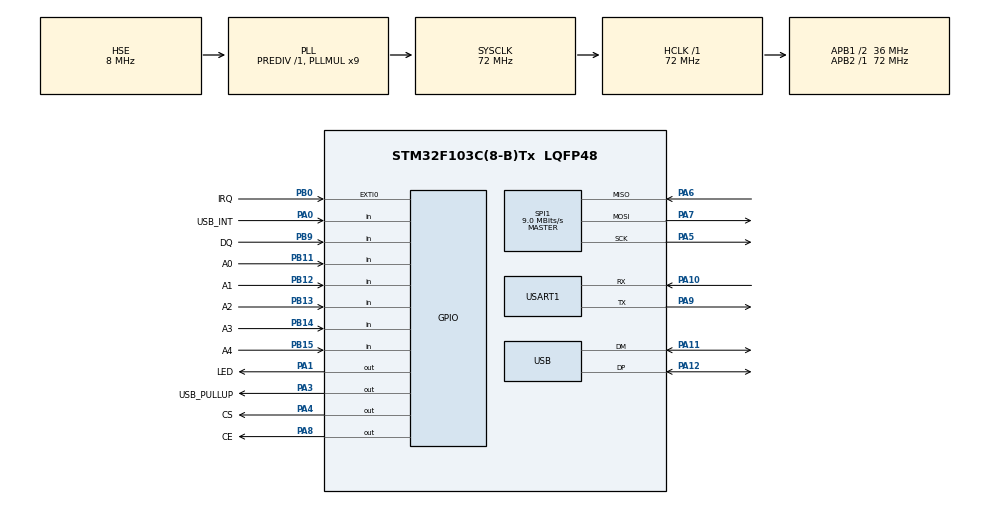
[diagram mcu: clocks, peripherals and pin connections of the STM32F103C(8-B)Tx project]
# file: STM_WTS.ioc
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Mcu.Family=STM32F1
Mcu.Name=STM32F103C(8-B)Tx
Mcu.Package=LQFP48
NVIC.EXTI0_IRQn=true\:0\:0\:false\:false\:true\:true
NVIC.PriorityGroup=NVIC_PRIORITYGROUP_4
NVIC.TIM1_UP_IRQn=true\:0\:0\:false\:false\:true\:true
NVIC.USART1_IRQn=true\:0\:0\:false\:false\:true\:true
NVIC.USB_LP_CAN1_RX0_IRQn=true\:0\:0\:false\:false\:true\:false
PA0-WKUP.GPIO_Label=USB_INT
PA0-WKUP.GPIO_PuPd=GPIO_PULLDOWN
PA0-WKUP.Signal=GPIO_Input
PA1.GPIO_Label=LED
PA1.Signal=GPIO_Output
PA10.Mode=Asynchronous
PA10.Signal=USART1_RX
PA11.Mode=Device
PA11.Signal=USB_DM
PA12.Mode=Device
PA12.Signal=USB_DP
PA13.Mode=Trace_Asynchronous_SW
PA13.Signal=SYS_JTMS-SWDIO
PA14.Mode=Trace_Asynchronous_SW
PA14.Signal=SYS_JTCK-SWCLK
PA3.GPIO_Label=USB_PULLUP
PA3.Signal=GPIO_Output
PA4.GPIO_Label=CS
PA4.Signal=GPIO_Output
PA5.Mode=Full_Duplex_Master
PA5.Signal=SPI1_SCK
PA6.Mode=Full_Duplex_Master
PA6.Signal=SPI1_MISO
PA7.Mode=Full_Duplex_Master
PA7.Signal=SPI1_MOSI
PA8.GPIO_Label=CE
PA8.Signal=GPIO_Output
PA9.Mode=Asynchronous
PA9.Signal=USART1_TX
PB0.GPIO_Label=IRQ
PB0.GPIO_ModeDefaultEXTI=GPIO_MODE_IT_FALLING
PB0.GPIO_PuPd=GPIO_PULLUP
PB0.Signal=GPXTI0
PB11.GPIO_Label=A0
PB11.Signal=GPIO_Input
PB12.GPIO_Label=A1
PB12.Signal=GPIO_Input
PB13.GPIO_Label=A2
PB13.Signal=GPIO_Input
PB14.GPIO_Label=A3
PB14.Signal=GPIO_Input
PB15.GPIO_Label=A4
PB15.Signal=GPIO_Input
PB3.Mode=Trace_Asynchronous_SW
PB3.Signal=SYS_JTDO-TRACESWO
PB9.GPIO_Label=DQ
PB9.Signal=GPIO_Input
PD0-OSC_IN.Mode=HSE-External-Oscillator
PD0-OSC_IN.Signal=RCC_OSC_IN
PD1-OSC_OUT.Mode=HSE-External-Oscillator
PD1-OSC_OUT.Signal=RCC_OSC_OUT
ProjectManager.HeapSize=0x800
ProjectManager.StackSize=0x800
ProjectManager.TargetToolchain=MDK-ARM V5
RCC.AHBFreq_Value=72000000
RCC.APB1CLKDivider=RCC_HCLK_DIV2
RCC.APB1Freq_Value=36000000
RCC.APB1TimFreq_Value=72000000
RCC.APB2Freq_Value=72000000
RCC.APB2TimFreq_Value=72000000
RCC.HCLKFreq_Value=72000000
RCC.LSE_VALUE=32000
RCC.PLLMUL=RCC_PLL_MUL9
RCC.PLLSourceVirtual=RCC_PLLSOURCE_HSE
RCC.RTCClockSelection=RCC_RTCCLKSOURCE_LSE
RCC.SYSCLKFreq_VALUE=72000000
RCC.SYSCLKSource=RCC_SYSCLKSOURCE_PLLCLK
RCC.USBFreq_Value=48000000
RCC.USBPrescaler=RCC_USBCLKSOURCE_PLL_DIV1_5
SPI1.BaudRatePrescaler=SPI_BAUDRATEPRESCALER_8
SPI1.CalculateBaudRate=9.0 MBits/s
SPI1.Direction=SPI_DIRECTION_2LINES
SPI1.Mode=SPI_MODE_MASTER
SPI1.VirtualType=VM_MASTER
TIM1.ClockDivision=TIM_CLOCKDIVISION_DIV1
TIM1.Period=100
TIM1.Prescaler=35999
USART1.VirtualMode=VM_ASYNC
USB_DEVICE.APP_RX_DATA_SIZE=64
USB_DEVICE.APP_TX_DATA_SIZE=64
USB_DEVICE.CLASS_NAME_FS=CDC
USB_DEVICE.USBD_MAX_STR_DESC_SIZ=256
USB_DEVICE.VirtualMode=Cdc
USB_DEVICE.VirtualModeFS=Cdc_FS
VP_CRC_VS_CRC.Mode=CRC_Activate
VP_TIM1_VS_ClockSourceINT.Mode=Internal
VP_USB_DEVICE_VS_USB_DEVICE_CDC_FS.Mode=CDC_FS
board=STM_WTS

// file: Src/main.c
/**
  ******************************************************************************
  * @file           : main.c
  * @brief          : Main program body
  ******************************************************************************
  * This notice applies to any and all portions of this file
  * that are not between comment pairs USER CODE BEGIN and
  * USER CODE END. Other portions of this file, whether
  * inserted by the user or by software development tools
  * are owned by their respective copyright owners.
  *
  * Copyright (c) 2019 STMicroelectronics International N.V.
  * All rights reserved.
  *
  * Redistribution and use in source and binary forms, with or without
  * modification, are permitted, provided that the following conditions are met:
  *
  * 1. Redistribution of source code must retain the above copyright notice,
  *    this list of conditions and the following disclaimer.
  * 2. Redistributions in binary form must reproduce the above copyright notice,
  *    this list of conditions and the following disclaimer in the documentation
  *    and/or other materials provided with the distribution.
  * 3. Neither the name of STMicroelectronics nor the names of other
  *    contributors to this software may be used to endorse or promote products
  *    derived from this software without specific written permission.
  * 4. This software, including modifications and/or derivative works of this
  *    software, must execute solely and exclusively on microcontroller or
  *    microprocessor devices manufactured by or for STMicroelectronics.
  * 5. Redistribution and use of this software other than as permitted under
  *    this license is void and will automatically terminate your rights under
  *    this license.
  *
  * THIS SOFTWARE IS PROVIDED BY STMICROELECTRONICS AND CONTRIBUTORS "AS IS"
  * AND ANY EXPRESS, IMPLIED OR STATUTORY WARRANTIES, INCLUDING, BUT NOT
  * LIMITED TO, THE IMPLIED WARRANTIES OF MERCHANTABILITY, FITNESS FOR A
  * PARTICULAR PURPOSE AND NON-INFRINGEMENT OF THIRD PARTY INTELLECTUAL PROPERTY
  * RIGHTS ARE DISCLAIMED TO THE FULLEST EXTENT PERMITTED BY LAW. IN NO EVENT
  * SHALL STMICROELECTRONICS OR CONTRIBUTORS BE LIABLE FOR ANY DIRECT, INDIRECT,
  * INCIDENTAL, SPECIAL, EXEMPLARY, OR CONSEQUENTIAL DAMAGES (INCLUDING, BUT NOT
  * LIMITED TO, PROCUREMENT OF SUBSTITUTE GOODS OR SERVICES; LOSS OF USE, DATA,
  * OR PROFITS; OR BUSINESS INTERRUPTION) HOWEVER CAUSED AND ON ANY THEORY OF
  * LIABILITY, WHETHER IN CONTRACT, STRICT LIABILITY, OR TORT (INCLUDING
  * NEGLIGENCE OR OTHERWISE) ARISING IN ANY WAY OUT OF THE USE OF THIS SOFTWARE,
  * EVEN IF ADVISED OF THE POSSIBILITY OF SUCH DAMAGE.
  *
  ******************************************************************************
  */
#include "main.h"
#include "stm32f1xx_hal.h"
#include "crc.h"
#include "spi.h"
#include "tim.h"
#include "usart.h"
#include "usb_device.h"
#include "gpio.h"

/* USER CODE BEGIN Includes */
#include <stdio.h>

#include "usbd_cdc_if.h"
#include "uart_cmd_parser.h"
#include "nrf24.h"
#include "ds18b20.h"
#include "wireless_ctrl.h"

/* USER CODE END Includes */

/* USER CODE BEGIN PV */
/* Private variables ---------------------------------------------------------*/

/* USER CODE END PV */

void SystemClock_Config(void);

/* USER CODE BEGIN PFP */
/* Private function prototypes -----------------------------------------------*/

/* USER CODE END PFP */

int main(void)
{

  /* MCU Configuration----------------------------------------------------------*/

  /* Reset of all peripherals, Initializes the Flash interface and the Systick. */
  HAL_Init();

  /* Configure the system clock */
  SystemClock_Config();

  /* Initialize all configured peripherals */
  MX_GPIO_Init();
  MX_USART1_UART_Init();
  MX_SPI1_Init();
  MX_TIM1_Init();
  MX_CRC_Init();
  MX_USB_DEVICE_Init();
  /* USER CODE BEGIN 2 */
//test

//endtest

HAL_GPIO_WritePin(USB_PULLUP_GPIO_Port, USB_PULLUP_Pin, GPIO_PIN_SET);
HAL_GPIO_WritePin(LED_GPIO_Port,LED_Pin,GPIO_PIN_SET);
HAL_Delay(200);
uartInit();

//putsUSART("1\r\n>");
ds_init_state= ds18b20_Init(RESOLUTION_9BIT);
//putsUSART("2\r\n>");
nrf_init_state = NRF24_Init();
HAL_Delay(200);
//putsUSART("3\r\n>");
HAL_TIM_Base_Start_IT( &htim1);
//putsUSART("4\r\n>");
if(ds_init_state){
	putsUSART("DS init FAIL\r\n>");
}
if(nrf_init_state){
	putsUSART("NRF init FAIL\r\n>");
}
HAL_UART_Receive_IT( &huart1, &receive_val, 1);

  /* USER CODE END 2 */

  /* Infinite loop */
  /* USER CODE BEGIN WHILE */
uint8_t cdc_init=0;

if(nrf_init_state==0){
	nrf_init_state=WL_Check_Addr(0x00);

}

HAL_GPIO_WritePin(LED_GPIO_Port,LED_Pin,GPIO_PIN_RESET);

 while (1){
//Blinking
//DS18B20 init error ..
//NRF24 init error	 -
//NRF24 addr busy		 - -
//NRF24 timeout			 - - -

		if (uart1_rx_flag) {
			parseCommand(uart_rx_buf);
			uart1_rx_flag = 0;

		}
		if (vcp_rx_flag) {
			if(cdc_init){
			CDC_Transmit_FS((uint8_t*)"\r\n>", 3);
			//CDC_Transmit_FS((uint8_t*)"OK\n\r", 4);
			//putsUSART("\r\nOK\n\r");
			parseCommand(vcp_rx_buf);
			}else{
				uartInit();
				cdc_init=1;
			}
			vcp_rx_flag = 0;
		}

		if(ds_init_state){
			HAL_GPIO_WritePin(LED_GPIO_Port,LED_Pin,GPIO_PIN_RESET);
			HAL_Delay(1000);
			HAL_GPIO_TogglePin(LED_GPIO_Port,LED_Pin);
			HAL_Delay(100);
			HAL_GPIO_TogglePin(LED_GPIO_Port,LED_Pin);
			HAL_Delay(200);
			HAL_GPIO_TogglePin(LED_GPIO_Port,LED_Pin);
			HAL_Delay(100);
			HAL_GPIO_TogglePin(LED_GPIO_Port,LED_Pin);
			if(ds_check_timer>500){
				ds_check_timer=0;
				ds_init_state= ds18b20_Init(RESOLUTION_9BIT);
			}
		}else{
			if(ds_check_timer>500){
				ds_check_timer=0;
				ds_init_state= ds18b20_Reset();
			}
		}

		if(nrf_init_state){
			HAL_GPIO_WritePin(LED_GPIO_Port,LED_Pin,GPIO_PIN_RESET);
			HAL_Delay(1000);
			uint8_t i=nrf_init_state;
			while(i--){
				HAL_GPIO_TogglePin(LED_GPIO_Port,LED_Pin);
				HAL_Delay(1000);
				HAL_GPIO_TogglePin(LED_GPIO_Port,LED_Pin);
				HAL_Delay(300);
      }

			if(packet_handler_timer>1000){
				packet_handler_timer=0;
				if (nrf_init_state == 1){
					nrf_init_state = NRF24_Init();
					HAL_Delay(200);

				}
				if(nrf_init_state!=1){
						HAL_Delay(200);
						nrf_init_state = WL_Check_Addr(0xB0);
					}
				}
		}else{
			WL_Handler();
		}

  /* USER CODE END WHILE */

  }

}

void SystemClock_Config(void)
{

  RCC_OscInitTypeDef RCC_OscInitStruct;
  RCC_ClkInitTypeDef RCC_ClkInitStruct;
  RCC_PeriphCLKInitTypeDef PeriphClkInit;

    /**Initializes the CPU, AHB and APB busses clocks
    */
  RCC_OscInitStruct.OscillatorType = RCC_OSCILLATORTYPE_HSE;
  RCC_OscInitStruct.HSEState = RCC_HSE_ON;
  RCC_OscInitStruct.HSEPredivValue = RCC_HSE_PREDIV_DIV1;
  RCC_OscInitStruct.HSIState = RCC_HSI_ON;
  RCC_OscInitStruct.PLL.PLLState = RCC_PLL_ON;
  RCC_OscInitStruct.PLL.PLLSource = RCC_PLLSOURCE_HSE;
  RCC_OscInitStruct.PLL.PLLMUL = RCC_PLL_MUL9;
  if (HAL_RCC_OscConfig(&RCC_OscInitStruct) != HAL_OK)
  {
    _Error_Handler(__FILE__, __LINE__);
  }

    /**Initializes the CPU, AHB and APB busses clocks
    */
  RCC_ClkInitStruct.ClockType = RCC_CLOCKTYPE_HCLK|RCC_CLOCKTYPE_SYSCLK
                              |RCC_CLOCKTYPE_PCLK1|RCC_CLOCKTYPE_PCLK2;
  RCC_ClkInitStruct.SYSCLKSource = RCC_SYSCLKSOURCE_PLLCLK;
  RCC_ClkInitStruct.AHBCLKDivider = RCC_SYSCLK_DIV1;
  RCC_ClkInitStruct.APB1CLKDivider = RCC_HCLK_DIV2;
  RCC_ClkInitStruct.APB2CLKDivider = RCC_HCLK_DIV1;

  if (HAL_RCC_ClockConfig(&RCC_ClkInitStruct, FLASH_LATENCY_2) != HAL_OK)
  {
    _Error_Handler(__FILE__, __LINE__);
  }

  PeriphClkInit.PeriphClockSelection = RCC_PERIPHCLK_USB;
  PeriphClkInit.UsbClockSelection = RCC_USBCLKSOURCE_PLL_DIV1_5;
  if (HAL_RCCEx_PeriphCLKConfig(&PeriphClkInit) != HAL_OK)
  {
    _Error_Handler(__FILE__, __LINE__);
  }

    /**Configure the Systick interrupt time
    */
  HAL_SYSTICK_Config(HAL_RCC_GetHCLKFreq()/1000);

    /**Configure the Systick
    */
  HAL_SYSTICK_CLKSourceConfig(SYSTICK_CLKSOURCE_HCLK);

  /* SysTick_IRQn interrupt configuration */
  HAL_NVIC_SetPriority(SysTick_IRQn, 0, 0);
}

void _Error_Handler(char *file, int line)
{
  while(1)
  {
  }
}

/************************ (C) COPYRIGHT STMicroelectronics *****END OF FILE****/
